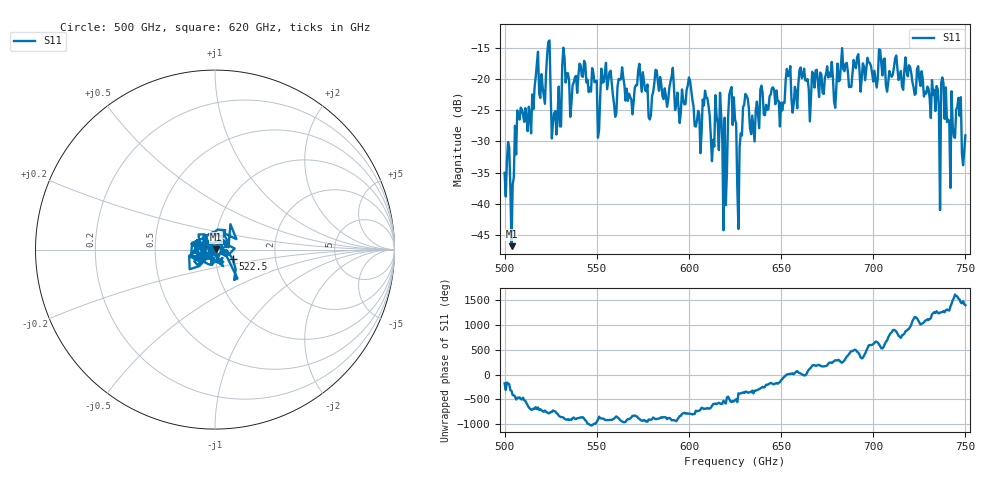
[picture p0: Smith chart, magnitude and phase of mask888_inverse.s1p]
!Created with skrf (http://scikit-rf.org).
# GHz S MA R 50.0
!freq magS11 angS11
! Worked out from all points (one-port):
!   401 points, 500 GHz to 750 GHz, reference 50 ohm
!   lowest |S11| = -46.8 dB at 503.8 GHz (marker M1), VSWR 1.01, Z = 50.4 + j0.26 ohm
!   |S11| at or under -10 dB: start of sweep to end of sweep
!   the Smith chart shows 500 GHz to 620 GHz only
!   S11 on the Smith chart (normalised r, x): 500 GHz: 0.97, -0.00; 522.5 GHz: 1.21, -0.13; 620 GHz: 0.99, +0.01
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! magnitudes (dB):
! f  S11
! 500 GHz  -35.1
! 503.8 GHz  -46.8
! 508.1 GHz  -26.5
! 522.5 GHz  -19.0
! 523.8 GHz  -14.0
! 526.9 GHz  -25.5
! 531.2 GHz  -17.9
! 562.5 GHz  -20.1
! 593.8 GHz  -22.2
! 600 GHz  -19.7
! 605.6 GHz  -25.7
! 609.4 GHz  -23.0
! 612.5 GHz  -33.2
! 616.2 GHz  -31.4
! 620 GHz  -40.2
! 622.5 GHz  -21.8
! 625 GHz  -26.5
! 627.5 GHz  -30.9
! 630.6 GHz  -22.4
! 634.4 GHz  -25.9
! 656.2 GHz  -25.4
! 687.5 GHz  -21.1
! 718.8 GHz  -19.6
! 735 GHz  -21.6
! 738.1 GHz  -20.7
! 743.1 GHz  -27.5
! 746.2 GHz  -23.0
! 750 GHz  -29.0
